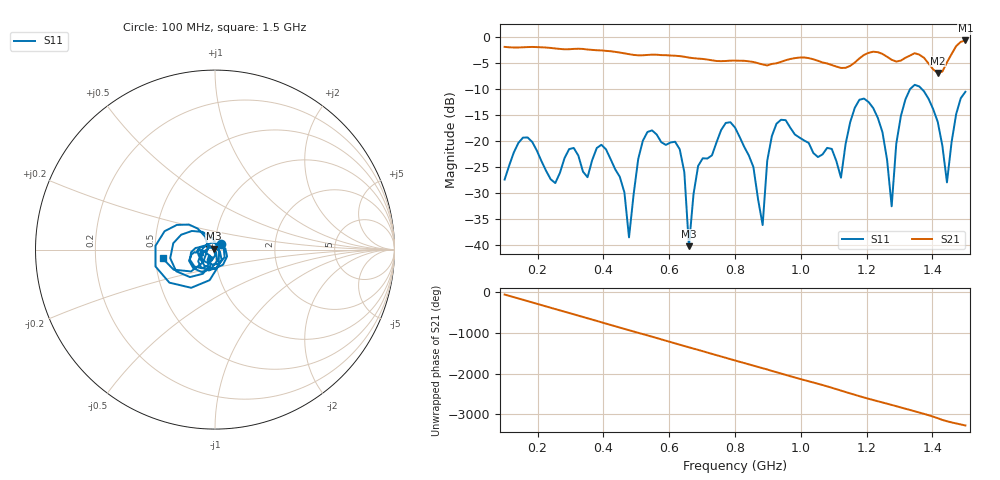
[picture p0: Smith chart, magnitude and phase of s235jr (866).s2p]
! NanoVNA-App
! Date: 2025-09-25 15:10:54
! Start: 100MHz Stop: 1,5GHz Points: 101
! S-Parameter data: F S11 S21 S12 S22
# Hz S RI R 50
!  Frequency  S11_Real  S11_Imag  S21_Real  S21_Imag  S12_Real  S12_Imag  S22_Real  S22_Imag
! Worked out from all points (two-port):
!   101 points, 100 MHz to 1.5 GHz, reference 50 ohm
!   highest |S21| = -0.73 dB at 1.5 GHz (marker M1); lowest = -7.0 dB at 1.416 GHz (marker M2)
!   |S21| within 3 dB of the highest: start of sweep to 629.6 MHz; 1.187 GHz to 1.259 GHz (71.15 MHz wide, 5.82 % of centre) (the widest 2 of 4)
!   lowest |S11| = -40.3 dB at 660 MHz (marker M3), VSWR 1.02, Z = 49.2 + j0.549 ohm
!   |S11| at or under -10 dB: start of sweep to 1.333 GHz; 1.367 GHz to end of sweep
!   S12 and S22 are empty: the file has one direction only
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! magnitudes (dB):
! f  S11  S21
! 100 MHz  -27.5  -2.0
! 156 MHz  -19.4  -2.0
! 338 MHz  -25.9  -2.4
! 408 MHz  -21.7  -2.7
! 478 MHz  -38.6  -3.4
! 520 MHz  -20.0  -3.6
! 576 MHz  -20.3  -3.5
! 632 MHz  -21.6  -3.7
! 660 MHz  -40.3  -4.0
! 688 MHz  -24.8  -4.2
! 800 MHz  -17.5  -4.6
! 884 MHz  -36.2  -5.3
! 926 MHz  -16.7  -5.1
! 1.038 GHz  -22.4  -4.3
! 1.122 GHz  -27.1  -6.0
! 1.192 GHz  -11.9  -3.5
! 1.248 GHz  -18.4  -3.3
! 1.276 GHz  -32.6  -4.4
! 1.332 GHz  -10.1  -3.6
! 1.416 GHz  -16.4  -7.0
! 1.444 GHz  -28.0  -4.9
! 1.5 GHz  -10.6  -0.7
